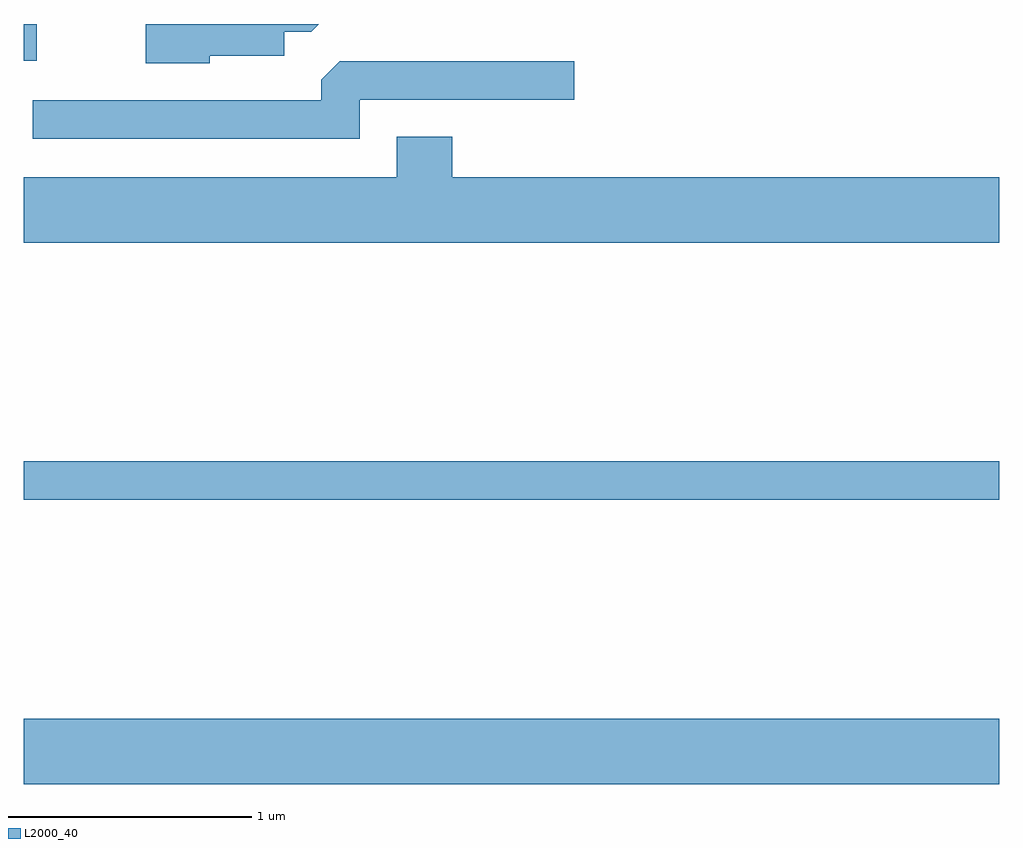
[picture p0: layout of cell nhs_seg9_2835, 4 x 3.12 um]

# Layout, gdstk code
import gdstk
lib = gdstk.Library(unit=1e-6, precision=1e-09)
def R(c, l, rs):  # rectangles x0, y0, x1, y1
    for r in rs: c.add(gdstk.rectangle(r[:2], r[2:], *l))
def P(c, l, *ps):  # polygons
    for p in ps: c.add(gdstk.Polygon(p, *l))
L2000_40 = (2000, 40)

nhs_seg9_2835 = lib.new_cell('nhs_seg9_2835')
R(nhs_seg9_2835, L2000_40, [(267.611,2047.316,271.611,2047.584), (267.611,2048.481,271.611,2048.639), (267.611,2050.281,267.664,2050.432)])
P(nhs_seg9_2835, L2000_40, [(268.374,2050.301),(268.679,2050.301),(268.679,2050.401),(268.789,2050.401),(268.82,2050.432),(268.111,2050.432),(268.111,2050.271),(268.374,2050.271)],
  [(268.989,2050.121),(269.868,2050.121),(269.868,2050.279),(268.907,2050.279),(268.831,2050.204),(268.831,2050.119),(267.648,2050.119),(267.648,2049.961),(268.989,2049.961)],
  [(271.611,2049.804),(269.369,2049.804),(269.369,2049.969),(269.141,2049.969),(269.141,2049.804),(267.611,2049.804),(267.611,2049.536),(271.611,2049.536)])

lib.write_gds('nhs_seg9_2835.gds')
